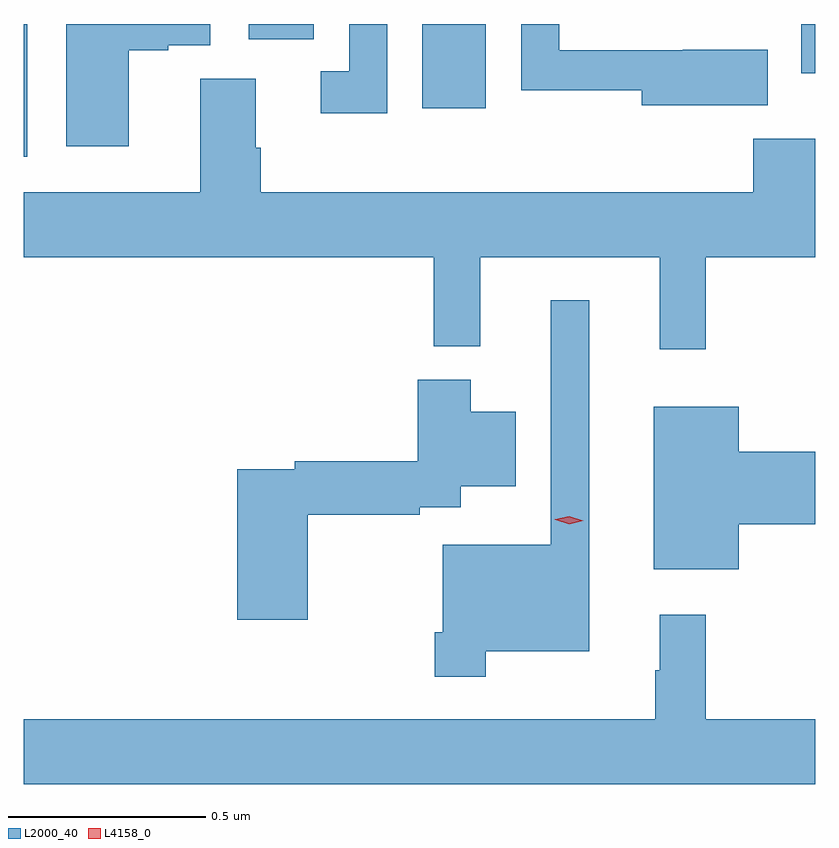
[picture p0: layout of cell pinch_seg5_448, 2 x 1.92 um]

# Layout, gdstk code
import gdstk
lib = gdstk.Library(unit=1e-6, precision=1e-09)
def R(c, l, rs):  # rectangles x0, y0, x1, y1
    for r in rs: c.add(gdstk.rectangle(r[:2], r[2:], *l))
def P(c, l, *ps):  # polygons
    for p in ps: c.add(gdstk.Polygon(p, *l))
L2000_40 = (2000, 40)
L4158_0 = (4158, 0)

pinch_seg5_448 = lib.new_cell('pinch_seg5_448')
R(pinch_seg5_448, L2000_40, [(888.069,867.669,888.078,868.005), (889.076,867.792,889.237,868.005), (890.034,867.881,890.069,868.005), (888.638,867.966,888.802,868.005)])
P(pinch_seg5_448, L2000_40, [(889.949,867.94),(889.735,867.94),(889.735,867.939),(889.422,867.939),(889.422,868.005),(889.326,868.005),(889.326,867.838),(889.631,867.838),(889.631,867.8),(889.949,867.8)],
  [(888.334,867.939),(888.434,867.939),(888.434,867.951),(888.54,867.951),(888.54,868.005),(888.176,868.005),(888.176,867.696),(888.334,867.696)],
  [(888.987,868.005),(888.891,868.005),(888.891,867.885),(888.819,867.885),(888.819,867.78),(888.987,867.78)],
  [(889.793,867.416),(890.069,867.416),(890.069,867.715),(889.913,867.715),(889.913,867.58),(888.668,867.58),(888.668,867.692),(888.655,867.692),(888.655,867.866),(888.515,867.866),(888.515,867.58),(888.069,867.58),(888.069,867.416),(889.105,867.416),(889.105,867.191),(889.223,867.191),(889.223,867.416),(889.676,867.416),(889.676,867.183),(889.793,867.183)],
  [(889.237,866.42),(889.498,866.42),(889.498,867.307),(889.401,867.307),(889.401,866.689),(889.128,866.689),(889.128,866.467),(889.108,866.467),(889.108,866.355),(889.237,866.355)],
  [(888.786,866.764),(889.07,866.764),(889.07,866.784),(889.173,866.784),(889.173,866.837),(889.312,866.837),(889.312,867.025),(889.198,867.025),(889.198,867.106),(889.064,867.106),(889.064,866.9),(888.754,866.9),(888.754,866.88),(888.608,866.88),(888.608,866.499),(888.786,866.499)],
  [(889.876,866.741),(890.069,866.741),(890.069,866.924),(889.876,866.924),(889.876,867.037),(889.661,867.037),(889.661,866.627),(889.876,866.627)],
  [(890.069,866.248),(889.793,866.248),(889.793,866.512),(889.676,866.512),(889.676,866.372),(889.665,866.372),(889.665,866.248),(888.069,866.248),(888.069,866.084),(890.069,866.084)])
P(pinch_seg5_448, L4158_0, [(889.447,866.741),(889.412,866.752),(889.411,866.753),(889.412,866.753),(889.448,866.761),(889.483,866.749),(889.483,866.749),(889.483,866.749)])

lib.write_gds('pinch_seg5_448.gds')
